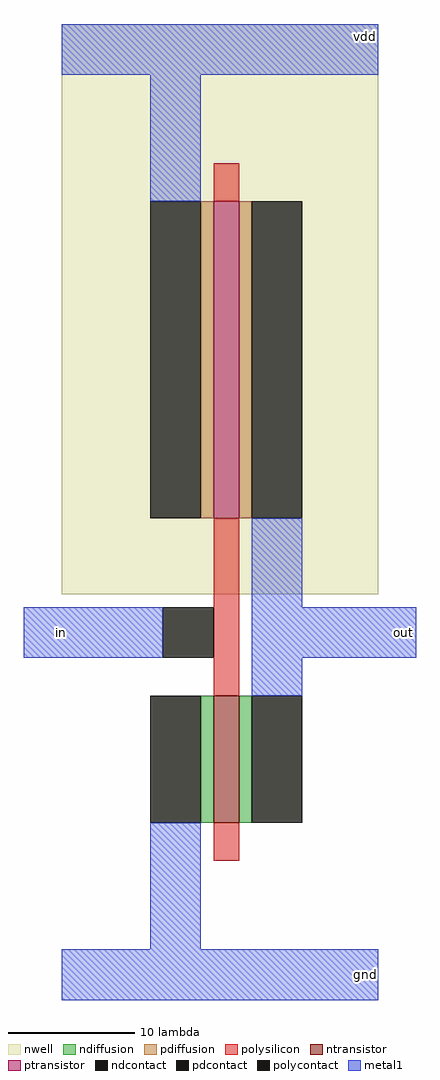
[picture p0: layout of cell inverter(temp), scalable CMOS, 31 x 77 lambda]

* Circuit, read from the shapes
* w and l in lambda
.subckt inverter(temp) gnd in out vdd
M1 out in gnd VSUBS nfet w=10 l=2
M2 out in vdd n1 pfet w=25 l=2
.ends

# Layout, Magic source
magic
tech scmos
<< nwell >>
rect -8 -5 17 40
<< ntransistor >>
rect 4 -23 6 -13
<< ptransistor >>
rect 4 1 6 26
<< ndiffusion >>
rect 3 -23 4 -13
rect 6 -23 7 -13
<< pdiffusion >>
rect 3 1 4 26
rect 6 1 7 26
<< ndcontact >>
rect -1 -23 3 -13
rect 7 -23 11 -13
<< pdcontact >>
rect -1 1 3 26
rect 7 1 11 26
<< polysilicon >>
rect 4 26 6 29
rect 4 -13 6 1
rect 4 -26 6 -23
<< polycontact >>
rect 0 -10 4 -6
<< metal1 >>
rect -8 36 17 40
rect -1 26 3 36
rect 7 -6 11 1
rect -11 -10 0 -6
rect 7 -10 20 -6
rect 7 -13 11 -10
rect -1 -33 3 -23
rect -8 -37 17 -33
<< labels >>
rlabel metal1 -8 -8 -8 -8 3 in
rlabel metal1 19 -8 19 -8 7 out
rlabel metal1 16 39 16 39 6 vdd
rlabel metal1 16 -35 16 -35 8 gnd
<< end >>
